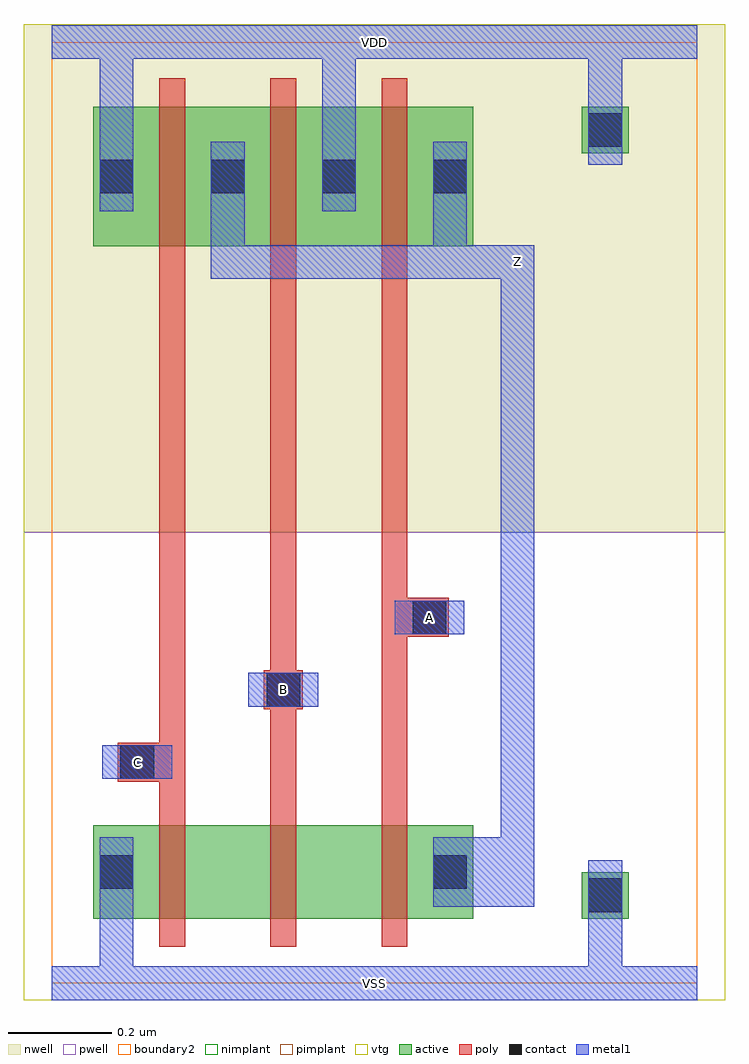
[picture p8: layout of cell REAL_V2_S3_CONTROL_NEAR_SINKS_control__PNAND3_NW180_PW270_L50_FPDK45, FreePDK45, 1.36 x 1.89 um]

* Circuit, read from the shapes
.subckt REAL_V2_S3_CONTROL_NEAR_SINKS_control__PNAND3_NW180_PW270_L50_FPDK45 A B C VDD VSS Z
M1 n1 C VSS VSS nfet w=0.18u l=0.05u
M2 n2 B n1 VSS nfet w=0.18u l=0.05u
M3 Z A n2 VSS nfet w=0.18u l=0.05u
M4 Z C VDD VDD pfet w=0.27u l=0.05u
M5 VDD B Z VDD pfet w=0.27u l=0.05u
M6 Z A VDD VDD pfet w=0.27u l=0.05u
.ends

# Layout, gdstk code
import gdstk
lib = gdstk.Library(unit=1e-6, precision=5e-10)
def R(c, l, rs):  # rectangles x0, y0, x1, y1
    for r in rs: c.add(gdstk.rectangle(r[:2], r[2:], *l))
def A(c, l, x, y, w, h, nx, ny, dx, dy):  # array of equal rectangles
    R(c, l, [(x+i*dx, y+j*dy, x+i*dx+w, y+j*dy+h) for i in range(nx) for j in range(ny)])
active = (1, 0)
pwell = (2, 0)
nwell = (3, 0)
nimplant = (4, 0)
pimplant = (5, 0)
vtg = (6, 0)
poly = (9, 0)
contact = (10, 0)
metal1 = (11, 0)
boundary2 = (239, 0)

real_v2_s3_control_near_ = lib.new_cell('REAL_V2_S3_CONTROL_NEAR_SINKS_control__PNAND3_NW180_PW270_L50_FPDK45_contact_8')
R(real_v2_s3_control_near_, active, [(0,0.0225,0.09,0.1125)])
R(real_v2_s3_control_near_, nwell, [(-0.055,-0.0325,0.145,0.1675)])
R(real_v2_s3_control_near_, pimplant, [(0,0.0225,0.09,0.1125)])
R(real_v2_s3_control_near_, contact, [(0.0125,0.035,0.0775,0.1)])
R(real_v2_s3_control_near_, metal1, [(0.0125,0,0.0775,0.135)])
R(real_v2_s3_control_near_, boundary2, [(-0.055,-0.0325,0.145,0.1675)])

c_real_v2_s3_control_near_ = lib.new_cell('REAL_V2_S3_CONTROL_NEAR_SINKS_control__PNAND3_NW180_PW270_L50_FPDK45_pmos_m1_w0_270_sm1_dm1')
R(c_real_v2_s3_control_near_, active, [(0,0,0.305,0.27)])
R(c_real_v2_s3_control_near_, nwell, [(-0.08,-0.08,0.385,0.35)])
R(c_real_v2_s3_control_near_, pimplant, [(0,0,0.305,0.27)])
R(c_real_v2_s3_control_near_, vtg, [(-0.08,-0.08,0.385,0.35)])
R(c_real_v2_s3_control_near_, poly, [(0.1275,-0.055,0.1775,0.325), (0.1275,-0.055,0.1775,0.325)])
R(c_real_v2_s3_control_near_, metal1, [(0.0125,0.0675,0.0775,0.2025), (0.2275,0.0675,0.2925,0.2025)])
R(c_real_v2_s3_control_near_, boundary2, [(-0.08,-0.08,0.385,0.35)])
c_real_v2_s3_control_near_.add(gdstk.Reference(real_v2_s3_control_near_, (0,0.0675)))
c_real_v2_s3_control_near_.add(gdstk.Reference(real_v2_s3_control_near_, (0.215,0.0675)))

c_real_v2_s3_control_near__ = lib.new_cell('REAL_V2_S3_CONTROL_NEAR_SINKS_control__PNAND3_NW180_PW270_L50_FPDK45_contact_7')
R(c_real_v2_s3_control_near__, active, [(0,0.0225,0.09,0.1125)])
R(c_real_v2_s3_control_near__, pwell, [(-0.055,-0.0325,0.145,0.1675)])
R(c_real_v2_s3_control_near__, nimplant, [(0,0.0225,0.09,0.1125)])
R(c_real_v2_s3_control_near__, contact, [(0.0125,0.035,0.0775,0.1)])
R(c_real_v2_s3_control_near__, metal1, [(0.0125,0,0.0775,0.135)])
R(c_real_v2_s3_control_near__, boundary2, [(-0.055,-0.0325,0.145,0.1675)])

c_real_v2_s3_control_near___ = lib.new_cell('REAL_V2_S3_CONTROL_NEAR_SINKS_control__PNAND3_NW180_PW270_L50_FPDK45_nmos_m1_w0_180_sm1_dactive')
R(c_real_v2_s3_control_near___, active, [(0,0,0.305,0.18), (0.215,0.045,0.305,0.135)])
R(c_real_v2_s3_control_near___, pwell, [(-0.08,-0.08,0.385,0.26)])
R(c_real_v2_s3_control_near___, nimplant, [(0,0,0.305,0.18)])
R(c_real_v2_s3_control_near___, vtg, [(-0.08,-0.08,0.385,0.26)])
R(c_real_v2_s3_control_near___, poly, [(0.1275,-0.055,0.1775,0.235), (0.1275,-0.055,0.1775,0.235)])
R(c_real_v2_s3_control_near___, metal1, [(0.0125,0.0225,0.0775,0.1575)])
R(c_real_v2_s3_control_near___, boundary2, [(-0.08,-0.08,0.385,0.26)])
c_real_v2_s3_control_near___.add(gdstk.Reference(c_real_v2_s3_control_near__, (0,0.0225)))

c_real_v2_s3_control_near____ = lib.new_cell('REAL_V2_S3_CONTROL_NEAR_SINKS_control__PNAND3_NW180_PW270_L50_FPDK45_nmos_m1_w0_180_sactive_dactive')
R(c_real_v2_s3_control_near____, active, [(0,0,0.305,0.18), (0,0.045,0.09,0.135), (0.215,0.045,0.305,0.135)])
R(c_real_v2_s3_control_near____, pwell, [(-0.08,-0.08,0.385,0.26)])
R(c_real_v2_s3_control_near____, nimplant, [(0,0,0.305,0.18)])
R(c_real_v2_s3_control_near____, vtg, [(-0.08,-0.08,0.385,0.26)])
R(c_real_v2_s3_control_near____, poly, [(0.1275,-0.055,0.1775,0.235), (0.1275,-0.055,0.1775,0.235)])
R(c_real_v2_s3_control_near____, boundary2, [(-0.08,-0.08,0.385,0.26)])

c_real_v2_s3_control_near_____ = lib.new_cell('REAL_V2_S3_CONTROL_NEAR_SINKS_control__PNAND3_NW180_PW270_L50_FPDK45_nmos_m1_w0_180_sactive_dm1')
R(c_real_v2_s3_control_near_____, active, [(0,0,0.305,0.18), (0,0.045,0.09,0.135)])
R(c_real_v2_s3_control_near_____, pwell, [(-0.08,-0.08,0.385,0.26)])
R(c_real_v2_s3_control_near_____, nimplant, [(0,0,0.305,0.18)])
R(c_real_v2_s3_control_near_____, vtg, [(-0.08,-0.08,0.385,0.26)])
R(c_real_v2_s3_control_near_____, poly, [(0.1275,-0.055,0.1775,0.235), (0.1275,-0.055,0.1775,0.235)])
R(c_real_v2_s3_control_near_____, metal1, [(0.2275,0.0225,0.2925,0.1575)])
R(c_real_v2_s3_control_near_____, boundary2, [(-0.08,-0.08,0.385,0.26)])
c_real_v2_s3_control_near_____.add(gdstk.Reference(c_real_v2_s3_control_near__, (0.215,0.0225)))

c_real_v2_s3_control_near______ = lib.new_cell('REAL_V2_S3_CONTROL_NEAR_SINKS_control__PNAND3_NW180_PW270_L50_FPDK45_contact_9')
R(c_real_v2_s3_control_near______, active, [(0,0.0225,0.09,0.1125)])
R(c_real_v2_s3_control_near______, nwell, [(-0.055,-0.0325,0.145,0.1675)])
R(c_real_v2_s3_control_near______, nimplant, [(0,0.0225,0.09,0.1125)])
R(c_real_v2_s3_control_near______, contact, [(0.0125,0.035,0.0775,0.1)])
R(c_real_v2_s3_control_near______, metal1, [(0.0125,0,0.0775,0.135)])
R(c_real_v2_s3_control_near______, boundary2, [(-0.055,-0.0325,0.145,0.1675)])

c_real_v2_s3_control_near_______ = lib.new_cell('REAL_V2_S3_CONTROL_NEAR_SINKS_control__PNAND3_NW180_PW270_L50_FPDK45_contact_10')
R(c_real_v2_s3_control_near_______, active, [(0,0.0225,0.09,0.1125)])
R(c_real_v2_s3_control_near_______, pwell, [(-0.055,-0.0325,0.145,0.1675)])
R(c_real_v2_s3_control_near_______, pimplant, [(0,0.0225,0.09,0.1125)])
R(c_real_v2_s3_control_near_______, contact, [(0.0125,0.035,0.0775,0.1)])
R(c_real_v2_s3_control_near_______, metal1, [(0.0125,0,0.0775,0.135)])
R(c_real_v2_s3_control_near_______, boundary2, [(-0.055,-0.0325,0.145,0.1675)])

c_real_v2_s3_control_near________ = lib.new_cell('REAL_V2_S3_CONTROL_NEAR_SINKS_control__PNAND3_NW180_PW270_L50_FPDK45_contact_11')
R(c_real_v2_s3_control_near________, poly, [(0.03,0,0.105,0.075)])
R(c_real_v2_s3_control_near________, contact, [(0.035,0.005,0.1,0.07)])
R(c_real_v2_s3_control_near________, metal1, [(0,0.005,0.135,0.07)])
R(c_real_v2_s3_control_near________, boundary2, [(0,0,0.135,0.075)])

c_real_v2_s3_control_near_________ = lib.new_cell('REAL_V2_S3_CONTROL_NEAR_SINKS_control__PNAND3_NW180_PW270_L50_FPDK45_pnand3')
R(c_real_v2_s3_control_near_________, pwell, [(-0.055,-0.0325,1.3025,0.8725)])
R(c_real_v2_s3_control_near_________, nwell, [(-0.055,0.8725,1.3025,1.855)])
R(c_real_v2_s3_control_near_________, vtg, [(-0.055,-0.0325,1.3025,0.8725), (-0.055,0.8725,1.3025,1.855)])
A(c_real_v2_s3_control_near_________, poly, 0.2075, 0.36, 0.05, 1.01, 3, 1, 0.215, 0)
R(c_real_v2_s3_control_near_________, poly, [(0.165,0.39,0.2075,0.465), (0.4225,0.53,0.4475,0.605), (0.6375,0.67,0.73,0.745)])
R(c_real_v2_s3_control_near_________, metal1, [(0,-0.0325,1.2475,0.0325), (0.0925,-0.0325,0.1575,0.1475), (1.0375,0,1.1025,0.17), (0.77,0.1475,0.9,0.2825), (0.8675,0.1475,0.9325,1.395), (0.0975,0.395,0.2325,0.46), (0.38,0.535,0.515,0.6), (0.6625,0.675,0.7975,0.74), (0.3075,1.3625,0.3725,1.4275), (0.34,1.3625,0.9,1.4275), (0.7375,1.3625,0.8025,1.4275), (0.77,1.3625,0.9,1.4275), (0.8675,1.3625,0.9325,1.4275), (0.3075,1.395,0.3725,1.56), (0.7375,1.395,0.8025,1.56), (0.0925,1.4925,0.1575,1.8525), (0.5225,1.4925,0.5875,1.8525), (1.0375,1.65,1.1025,1.82), (0,1.7875,1.2475,1.8525)])
R(c_real_v2_s3_control_near_________, boundary2, [(0,0,1.2475,1.82), (0,0,1.2475,1.82)])
c_real_v2_s3_control_near_________.add(gdstk.Reference(c_real_v2_s3_control_near_, (0.08,1.425)))
c_real_v2_s3_control_near_________.add(gdstk.Reference(c_real_v2_s3_control_near_, (0.295,1.425)))
c_real_v2_s3_control_near_________.add(gdstk.Reference(c_real_v2_s3_control_near_, (0.51,1.425)))
c_real_v2_s3_control_near_________.add(gdstk.Reference(c_real_v2_s3_control_near___, (0.08,0.125)))
c_real_v2_s3_control_near_________.add(gdstk.Reference(c_real_v2_s3_control_near____, (0.295,0.125)))
c_real_v2_s3_control_near_________.add(gdstk.Reference(c_real_v2_s3_control_near_____, (0.51,0.125)))
c_real_v2_s3_control_near_________.add(gdstk.Reference(c_real_v2_s3_control_near______, (1.025,1.5825)))
c_real_v2_s3_control_near_________.add(gdstk.Reference(c_real_v2_s3_control_near_______, (1.025,0.1025)))
c_real_v2_s3_control_near_________.add(gdstk.Reference(c_real_v2_s3_control_near________, (0.0975,0.39)))
c_real_v2_s3_control_near_________.add(gdstk.Reference(c_real_v2_s3_control_near________, (0.38,0.53)))
c_real_v2_s3_control_near_________.add(gdstk.Reference(c_real_v2_s3_control_near________, (0.6625,0.67)))

c_real_v2_s3_control_near__________ = lib.new_cell('REAL_V2_S3_CONTROL_NEAR_SINKS_control__PNAND3_NW180_PW270_L50_FPDK45')
R(c_real_v2_s3_control_near__________, metal1, [(0,-0.0325,1.2475,0.0325), (0.0975,0.395,0.2325,0.46), (0.38,0.535,0.515,0.6), (0.6625,0.675,0.7975,0.74), (0.8675,1.3625,0.9325,1.4275), (0,1.7875,1.2475,1.8525)])
R(c_real_v2_s3_control_near__________, boundary2, [(0,0,1.2475,1.82)])
c_real_v2_s3_control_near__________.add(gdstk.Reference(c_real_v2_s3_control_near_________, (0,0)))
c_real_v2_s3_control_near__________.add(gdstk.Label('VDD', (0.624,1.82), layer=11, texttype=2))
c_real_v2_s3_control_near__________.add(gdstk.Label('VSS', (0.624,0), layer=11, texttype=2))
c_real_v2_s3_control_near__________.add(gdstk.Label('A', (0.73,0.7075), layer=11, texttype=2))
c_real_v2_s3_control_near__________.add(gdstk.Label('B', (0.4475,0.5675), layer=11, texttype=2))
c_real_v2_s3_control_near__________.add(gdstk.Label('C', (0.165,0.4275), layer=11, texttype=2))
c_real_v2_s3_control_near__________.add(gdstk.Label('Z', (0.9,1.395), layer=11, texttype=2))

lib.write_gds('REAL_V2_S3_CONTROL_NEAR_SINKS_control__PNAND3_NW180_PW270_L50_FPDK45.gds')
